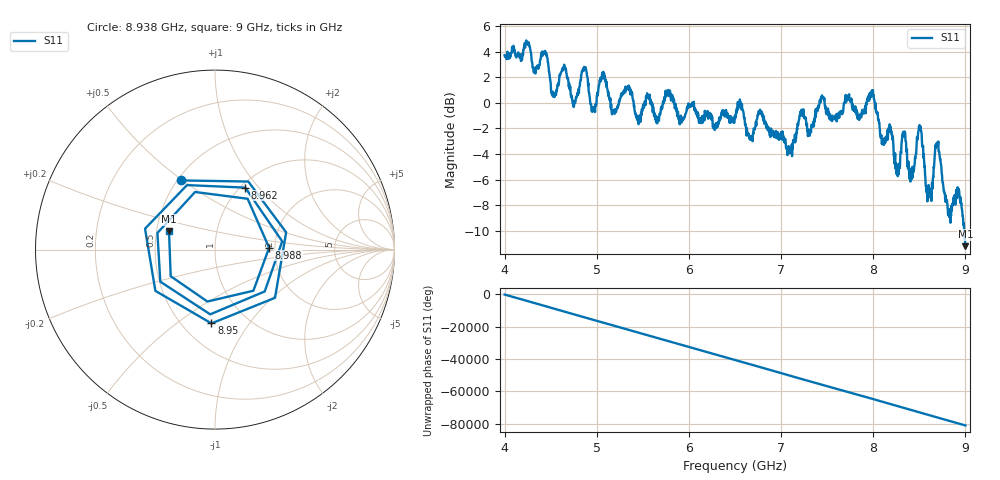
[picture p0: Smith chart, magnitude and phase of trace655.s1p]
! Created with skrf 1.8.0 (http://scikit-rf.org).
# Hz S RI R 50.0
!freq ReS11 ImS11
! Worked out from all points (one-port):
!   1601 points, 4 GHz to 9 GHz, reference 50 ohm
!   lowest |S11| = -11.2 dB at 9 GHz (marker M1), VSWR 1.76, Z = 29.1 + j6.48 ohm
!   |S11| at or under -10 dB: 8.98628 GHz to end of sweep
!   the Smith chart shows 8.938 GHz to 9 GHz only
!   S11 on the Smith chart (normalised r, x): 8.938 GHz: 0.52, +0.49; 8.95 GHz: 0.69, -0.68; 8.962 GHz: 1.05, +0.85; 8.988 GHz: 1.86, +0.04; 9 GHz: 0.58, +0.13
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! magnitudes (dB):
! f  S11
! 4 GHz  3.7
! 4.438 GHz  4.1
! 4.534 GHz  0.6
! 4.625 GHz  2.7
! 4.747 GHz  -0.3
! 4.862 GHz  2.8
! 4.956 GHz  -0.7
! 5.066 GHz  2.3
! 5.25 GHz  0.3
! 5.875 GHz  -0.9
! 6.5 GHz  -1.0
! 7.125 GHz  -3.6
! 7.222 GHz  -0.5
! 7.75 GHz  0.1
! 7.988 GHz  0.6
! 8.256 GHz  -5.5
! 8.331 GHz  -2.4
! 8.375 GHz  -5.0
! 8.428 GHz  -5.8
! 8.503 GHz  -1.7
! 8.597 GHz  -6.6
! 8.697 GHz  -3.3
! 8.819 GHz  -8.8
! 8.938 GHz  -7.3
! 8.95 GHz  -7.7
! 8.962 GHz  -8.3
! 8.988 GHz  -10.4
! 9 GHz  -11.2
